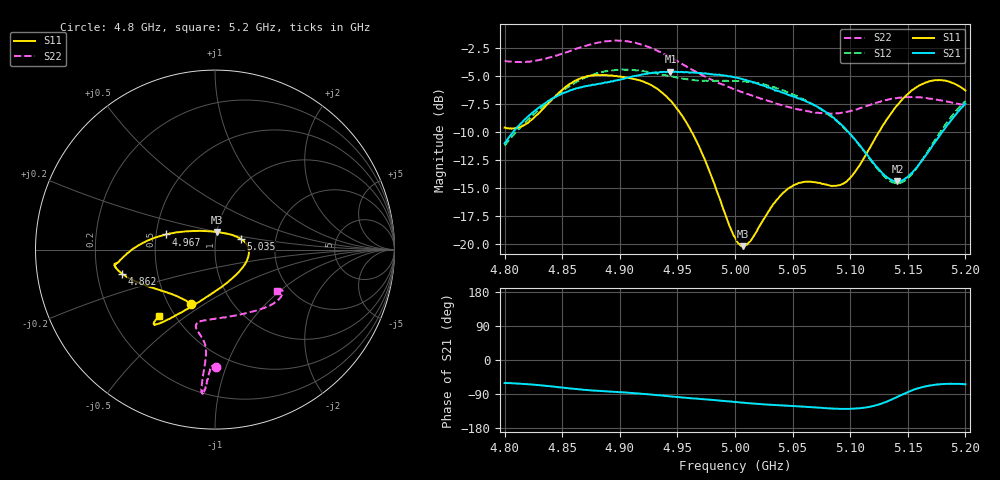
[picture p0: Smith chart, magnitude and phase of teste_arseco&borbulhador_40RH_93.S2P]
! Network Analyzer HP8722D
! Hewlett-Packard
! Data name: Linha & Wilkinson
! Saver's name: Rodrigo Anjos
! Comments: Teste da utilização de aquisição
! continua pelo VNA HP8722D
! Time and date: 15/4/2025 17:07
!  Frequency  S11  S21  S12  S22
# HZ  S  MA R 50
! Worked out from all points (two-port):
!   401 points, 4.8 GHz to 5.2 GHz, reference 50 ohm
!   highest |S21| = -4.64 dB at 4.944 GHz (marker M1); lowest = -14.4 dB at 5.141 GHz (marker M2)
!   |S21| within 3 dB of the highest: 4.833 GHz to 5.069 GHz (236.9 MHz wide, 4.78 % of centre); 5.198596 GHz to end of sweep
!   lowest |S11| = -20.2 dB at 5.007 GHz (marker M3), VSWR 1.22, Z = 50.1 + j9.89 ohm
!   |S11| at or under -10 dB: 4.962 GHz to 5.125 GHz (162.6 MHz wide, 3.22 % of centre)
!   |S22| runs from -8.4 to -1.9 dB; largest |S21 - S12| = 0.88
!   S11 on the Smith chart (normalised r, x): 4.8 GHz: 0.65, -0.44; 4.862 GHz: 0.31, -0.11; 4.967 GHz: 0.57, +0.10; 5.035 GHz: 1.32, +0.16; 5.2 GHz: 0.41, -0.40
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4.8e9  0.3305 -113.7  0.2816 -60.7  0.275 -175.0  0.6545 -89.5
4.819e9  0.3445 -133.5  0.3646 -63.8  0.3528 -173.3  0.6486 -91.2
4.862e9  0.5359 -165.6  0.4937 -76.4  0.5253 -176.2  0.7404 -93.5
4.867e9  0.5495 -167.5  0.5002 -78.0  0.5423 -177.3  0.754 -93.7
4.899e9  0.5573 -172.0  0.538 -84.9  0.5967 175.9  0.8036 -95.0
4.934e9  0.4848 -177.9  0.5815 -93.3  0.5729 171.9  0.7192 -95.5
4.944e9  0.436 177.7  0.5865 -96.2  0.557 172.1  0.678 -95.3
4.967e9  0.2846 162.7  0.5791 -102.0  0.5347 174.0  0.5806 -94.9
5e9  0.1076 107.3  0.5524 -111.1  0.5334 176.5  0.4873 -99.3
5.007e9  0.09829 83.8  0.5416 -112.5  0.5292 176.5  0.4727 -100.9
5.015e9  0.1065 58.6  0.5269 -114.7  0.5246 176.0  0.4578 -102.6
5.035e9  0.1545 23.2  0.4819 -118.9  0.4982 175.1  0.4234 -103.8
5.05e9  0.1823 7.2  0.4565 -121.5  0.4631 174.4  0.4043 -100.5
5.067e9  0.1897 -11.0  0.4201 -124.6  0.4212 174.0  0.3873 -92.0
5.086e9  0.1822 -41.6  0.3643 -128.5  0.3617 173.8  0.3819 -77.7
5.097e9  0.1906 -64.8  0.3213 -129.1  0.32 174.4  0.3882 -68.6
5.134e9  0.3731 -116.0  0.1956 -107.0  0.1922 -159.6  0.4414 -43.4
5.141e9  0.4163 -119.9  0.1905 -97.1  0.1874 -148.8  0.4478 -40.2
5.153e9  0.4817 -124.8  0.2068 -81.0  0.2038 -130.0  0.4518 -35.9
5.17e9  0.5325 -128.5  0.2674 -66.9  0.2722 -113.0  0.4443 -32.0
5.184e9  0.5322 -129.8  0.338 -63.1  0.3488 -107.1  0.4315 -31.1
5.2e9  0.4827 -130.2  0.4224 -64.1  0.4338 -106.0  0.4158 -33.4
